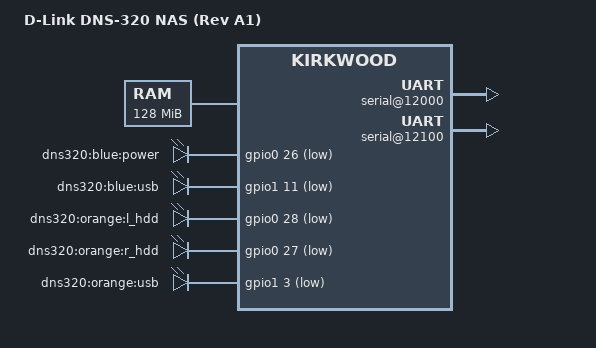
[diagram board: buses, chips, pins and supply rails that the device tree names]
// SPDX-License-Identifier: GPL-2.0
/dts-v1/;

#include "kirkwood-dnskw.dtsi"

/ {
	model = "D-Link DNS-320 NAS (Rev A1)";
	compatible = "dlink,dns-320-a1", "dlink,dns-320", "dlink,dns-kirkwood", "marvell,kirkwood-88f6281", "marvell,kirkwood";

	memory {
		device_type = "memory";
		reg = <0x00000000 0x8000000>;
	};

	chosen {
		bootargs = "console=ttyS0,115200n8 earlyprintk";
		stdout-path = &uart0;
	};

	gpio-leds {
		compatible = "gpio-leds";
		pinctrl-0 = <&pmx_led_power &pmx_led_red_usb_320
			     &pmx_led_red_left_hdd &pmx_led_red_right_hdd
			     &pmx_led_white_usb>;
		pinctrl-names = "default";

		led-blue-power {
			label = "dns320:blue:power";
			gpios = <&gpio0 26 GPIO_ACTIVE_LOW>;
			default-state = "keep";
		};
		led-blue-usb {
			label = "dns320:blue:usb";
			gpios = <&gpio1 11 GPIO_ACTIVE_LOW>;
		};
		led-orange-l_hdd {
			label = "dns320:orange:l_hdd";
			gpios = <&gpio0 28 GPIO_ACTIVE_LOW>;
		};
		led-orange-r_hdd {
			label = "dns320:orange:r_hdd";
			gpios = <&gpio0 27 GPIO_ACTIVE_LOW>;
		};
		led-orange-usb {
			label = "dns320:orange:usb";
			gpios = <&gpio1 3 GPIO_ACTIVE_LOW>; /* GPIO 35 */
		};
	};

	ocp@f1000000 {
		serial@12000 {
			status = "okay";
		};

		serial@12100 {
			status = "okay";
		};
	};
};
